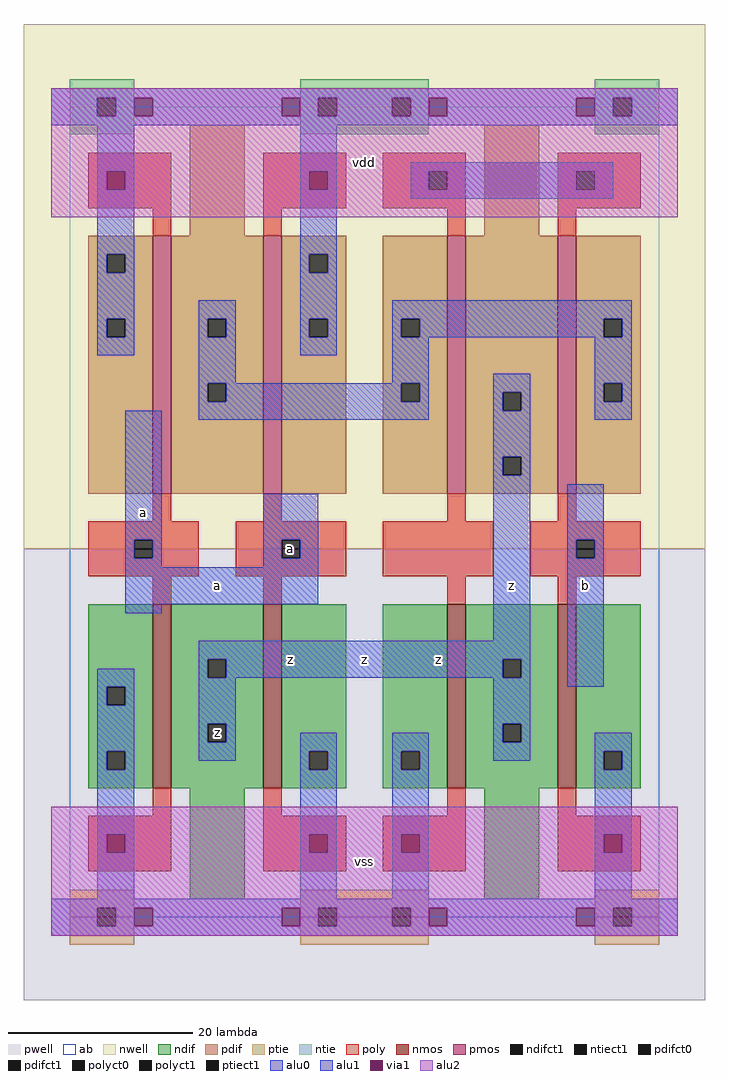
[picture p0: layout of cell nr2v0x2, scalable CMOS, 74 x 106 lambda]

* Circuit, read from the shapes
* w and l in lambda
.subckt nr2v0x2 a b vdd vss z
M1 z a vss vss nfet w=20 l=2 m=2
M2 z b vss vss nfet w=20 l=2 m=2
M3 n1 a vdd vdd pfet w=28 l=2 m=2
M4 z b n1 vdd pfet w=28 l=2 m=2
.ends

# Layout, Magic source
magic
tech scmos
<< ab >>
rect 0 0 64 88
<< nwell >>
rect -5 40 69 97
<< pwell >>
rect -5 -9 69 40
<< poly >>
rect 2 77 11 83
rect 9 74 11 77
rect 21 77 30 83
rect 34 81 43 83
rect 34 79 39 81
rect 41 79 43 81
rect 34 77 43 79
rect 21 74 23 77
rect 41 74 43 77
rect 53 81 62 83
rect 53 79 55 81
rect 57 79 62 81
rect 53 77 62 79
rect 53 74 55 77
rect 9 43 11 46
rect 21 43 23 46
rect 41 43 43 46
rect 53 43 55 46
rect 2 41 14 43
rect 2 39 7 41
rect 9 39 14 41
rect 2 37 14 39
rect 18 41 30 43
rect 18 39 23 41
rect 25 39 30 41
rect 18 37 30 39
rect 34 37 46 43
rect 50 41 62 43
rect 50 39 55 41
rect 57 39 62 41
rect 50 37 62 39
rect 9 34 11 37
rect 21 34 23 37
rect 41 34 43 37
rect 53 34 55 37
rect 9 11 11 14
rect 2 5 11 11
rect 21 11 23 14
rect 41 11 43 14
rect 21 5 30 11
rect 34 5 43 11
rect 53 11 55 14
rect 53 5 62 11
<< ndif >>
rect 2 25 9 34
rect 2 23 4 25
rect 6 23 9 25
rect 2 18 9 23
rect 2 16 4 18
rect 6 16 9 18
rect 2 14 9 16
rect 11 28 21 34
rect 11 26 15 28
rect 17 26 21 28
rect 11 21 21 26
rect 11 19 15 21
rect 17 19 21 21
rect 11 14 21 19
rect 23 18 30 34
rect 23 16 26 18
rect 28 16 30 18
rect 23 14 30 16
rect 34 18 41 34
rect 34 16 36 18
rect 38 16 41 18
rect 34 14 41 16
rect 43 28 53 34
rect 43 26 47 28
rect 49 26 53 28
rect 43 21 53 26
rect 43 19 47 21
rect 49 19 53 21
rect 43 14 53 19
rect 55 18 62 34
rect 55 16 58 18
rect 60 16 62 18
rect 55 14 62 16
rect 13 2 19 14
rect 45 2 51 14
<< pdif >>
rect 13 74 19 86
rect 45 74 51 86
rect 2 72 9 74
rect 2 70 4 72
rect 6 70 9 72
rect 2 65 9 70
rect 2 63 4 65
rect 6 63 9 65
rect 2 46 9 63
rect 11 65 21 74
rect 11 63 15 65
rect 17 63 21 65
rect 11 58 21 63
rect 11 56 15 58
rect 17 56 21 58
rect 11 46 21 56
rect 23 72 30 74
rect 23 70 26 72
rect 28 70 30 72
rect 23 65 30 70
rect 23 63 26 65
rect 28 63 30 65
rect 23 46 30 63
rect 34 65 41 74
rect 34 63 36 65
rect 38 63 41 65
rect 34 58 41 63
rect 34 56 36 58
rect 38 56 41 58
rect 34 46 41 56
rect 43 57 53 74
rect 43 55 47 57
rect 49 55 53 57
rect 43 50 53 55
rect 43 48 47 50
rect 49 48 53 50
rect 43 46 53 48
rect 55 65 62 74
rect 55 63 58 65
rect 60 63 62 65
rect 55 58 62 63
rect 55 56 58 58
rect 60 56 62 58
rect 55 46 62 56
<< alu1 >>
rect -2 89 66 90
rect -2 87 3 89
rect 5 87 7 89
rect 9 87 23 89
rect 25 87 27 89
rect 29 87 35 89
rect 37 87 39 89
rect 41 87 55 89
rect 57 87 59 89
rect 61 87 66 89
rect -2 86 66 87
rect 3 81 7 86
rect 3 79 4 81
rect 6 79 7 81
rect 3 72 7 79
rect 3 70 4 72
rect 6 70 7 72
rect 3 65 7 70
rect 25 81 29 86
rect 25 79 26 81
rect 28 79 29 81
rect 25 72 29 79
rect 25 70 26 72
rect 28 70 29 72
rect 3 63 4 65
rect 6 63 7 65
rect 3 61 7 63
rect 25 65 29 70
rect 25 63 26 65
rect 28 63 29 65
rect 25 61 29 63
rect 6 41 10 55
rect 46 57 50 59
rect 46 55 47 57
rect 49 55 50 57
rect 46 50 50 55
rect 46 48 47 50
rect 49 48 50 50
rect 6 39 7 41
rect 9 39 10 41
rect 6 38 10 39
rect 21 41 27 46
rect 21 39 23 41
rect 25 39 27 41
rect 21 38 27 39
rect 6 34 27 38
rect 6 33 10 34
rect 46 30 50 48
rect 14 28 50 30
rect 3 25 7 27
rect 3 23 4 25
rect 6 23 7 25
rect 3 18 7 23
rect 3 16 4 18
rect 6 16 7 18
rect 14 26 15 28
rect 17 26 47 28
rect 49 26 50 28
rect 14 21 18 26
rect 14 19 15 21
rect 17 19 18 21
rect 46 21 50 26
rect 54 41 58 47
rect 54 39 55 41
rect 57 39 58 41
rect 54 25 58 39
rect 14 17 18 19
rect 25 18 29 20
rect 3 9 7 16
rect 3 7 4 9
rect 6 7 7 9
rect 3 2 7 7
rect 25 16 26 18
rect 28 16 29 18
rect 25 9 29 16
rect 25 7 26 9
rect 28 7 29 9
rect 25 2 29 7
rect 35 18 39 20
rect 35 16 36 18
rect 38 16 39 18
rect 46 19 47 21
rect 49 19 50 21
rect 46 17 50 19
rect 57 18 61 20
rect 35 9 39 16
rect 35 7 36 9
rect 38 7 39 9
rect 35 2 39 7
rect 57 16 58 18
rect 60 16 61 18
rect 57 9 61 16
rect 57 7 58 9
rect 60 7 61 9
rect 57 2 61 7
rect -2 1 66 2
rect -2 -1 3 1
rect 5 -1 7 1
rect 9 -1 23 1
rect 25 -1 27 1
rect 29 -1 35 1
rect 37 -1 39 1
rect 41 -1 55 1
rect 57 -1 59 1
rect 61 -1 66 1
rect -2 -2 66 -1
<< alu2 >>
rect -2 89 66 90
rect -2 87 7 89
rect 9 87 23 89
rect 25 87 39 89
rect 41 87 55 89
rect 57 87 66 89
rect -2 81 66 87
rect -2 79 4 81
rect 6 79 26 81
rect 28 79 66 81
rect -2 76 66 79
rect -2 9 66 12
rect -2 7 4 9
rect 6 7 26 9
rect 28 7 36 9
rect 38 7 58 9
rect 60 7 66 9
rect -2 1 66 7
rect -2 -1 7 1
rect 9 -1 23 1
rect 25 -1 39 1
rect 41 -1 55 1
rect 57 -1 66 1
rect -2 -2 66 -1
<< ptie >>
rect 0 1 7 3
rect 0 -1 3 1
rect 5 -1 7 1
rect 0 -3 7 -1
rect 25 1 39 3
rect 25 -1 27 1
rect 29 -1 35 1
rect 37 -1 39 1
rect 25 -3 39 -1
rect 57 1 64 3
rect 57 -1 59 1
rect 61 -1 64 1
rect 57 -3 64 -1
<< ntie >>
rect 0 89 7 91
rect 0 87 3 89
rect 5 87 7 89
rect 0 85 7 87
rect 25 89 39 91
rect 25 87 27 89
rect 29 87 35 89
rect 37 87 39 89
rect 25 85 39 87
rect 57 89 64 91
rect 57 87 59 89
rect 61 87 64 89
rect 57 85 64 87
<< nmos >>
rect 9 14 11 34
rect 21 14 23 34
rect 41 14 43 34
rect 53 14 55 34
<< pmos >>
rect 9 46 11 74
rect 21 46 23 74
rect 41 46 43 74
rect 53 46 55 74
<< polyct0 >>
rect 39 79 41 81
rect 55 79 57 81
<< polyct1 >>
rect 7 39 9 41
rect 23 39 25 41
rect 55 39 57 41
<< ndifct1 >>
rect 4 23 6 25
rect 4 16 6 18
rect 15 26 17 28
rect 15 19 17 21
rect 26 16 28 18
rect 36 16 38 18
rect 47 26 49 28
rect 47 19 49 21
rect 58 16 60 18
<< ntiect1 >>
rect 3 87 5 89
rect 27 87 29 89
rect 35 87 37 89
rect 59 87 61 89
<< ptiect1 >>
rect 3 -1 5 1
rect 27 -1 29 1
rect 35 -1 37 1
rect 59 -1 61 1
<< pdifct0 >>
rect 15 63 17 65
rect 15 56 17 58
rect 36 63 38 65
rect 36 56 38 58
rect 58 63 60 65
rect 58 56 60 58
<< pdifct1 >>
rect 4 70 6 72
rect 4 63 6 65
rect 26 70 28 72
rect 26 63 28 65
rect 47 55 49 57
rect 47 48 49 50
<< alu0 >>
rect 37 81 59 82
rect 37 79 39 81
rect 41 79 55 81
rect 57 79 59 81
rect 37 78 59 79
rect 14 65 18 67
rect 14 63 15 65
rect 17 63 18 65
rect 14 58 18 63
rect 35 65 61 67
rect 35 63 36 65
rect 38 63 58 65
rect 60 63 61 65
rect 35 58 39 63
rect 14 56 15 58
rect 17 56 36 58
rect 38 56 39 58
rect 14 54 39 56
rect 57 58 61 63
rect 57 56 58 58
rect 60 56 61 58
rect 57 54 61 56
<< via1 >>
rect 7 87 9 89
rect 23 87 25 89
rect 39 87 41 89
rect 55 87 57 89
rect 4 79 6 81
rect 26 79 28 81
rect 4 7 6 9
rect 26 7 28 9
rect 36 7 38 9
rect 58 7 60 9
rect 7 -1 9 1
rect 23 -1 25 1
rect 39 -1 41 1
rect 55 -1 57 1
<< labels >>
rlabel alu1 8 44 8 44 6 a
rlabel ndifct1 16 20 16 20 6 z
rlabel alu1 16 36 16 36 6 a
rlabel polyct1 24 40 24 40 6 a
rlabel alu1 24 28 24 28 6 z
rlabel alu1 32 28 32 28 6 z
rlabel alu1 40 28 40 28 6 z
rlabel alu1 48 36 48 36 6 z
rlabel alu1 56 36 56 36 6 b
rlabel alu2 32 6 32 6 6 vss
rlabel alu2 32 82 32 82 6 vdd
<< end >>
